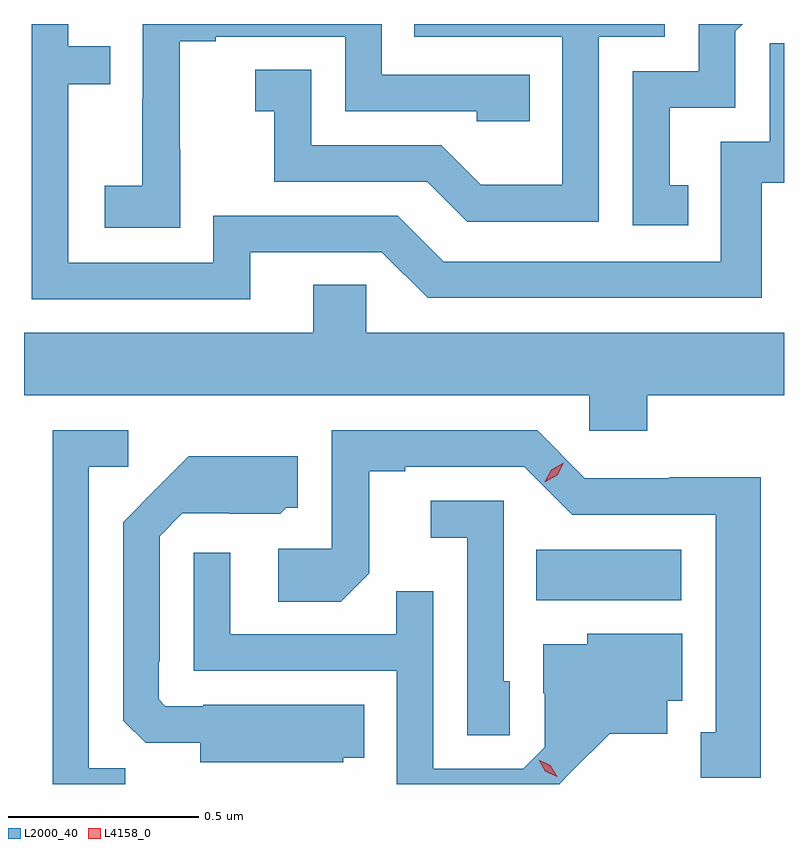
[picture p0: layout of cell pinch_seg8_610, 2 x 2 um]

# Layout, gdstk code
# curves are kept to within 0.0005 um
import gdstk
lib = gdstk.Library(unit=1e-6, precision=1e-09)
def R(c, l, rs):  # rectangles x0, y0, x1, y1
    for r in rs: c.add(gdstk.rectangle(r[:2], r[2:], *l))
def P(c, l, *ps):  # polygons
    for p in ps: c.add(gdstk.Polygon(p, *l))
L2000_40 = (2000, 40)
L4158_0 = (4158, 0)

pinch_seg8_610 = lib.new_cell('pinch_seg8_610')
R(pinch_seg8_610, L2000_40, [(115.168,1082.66,115.549,1082.794)])
P(pinch_seg8_610, L2000_40, [(114.231,1083.847),(114.23,1083.847),(114.23,1084.131),(114.325,1084.131),(114.325,1084.143),(114.666,1084.143),(114.666,1083.948),(115.011,1083.948),(115.011,1083.921),(115.151,1083.921),(115.151,1084.044),(114.762,1084.044),(114.762,1084.177),(114.132,1084.177),(114.132,1083.98),(114.131,1083.98),(114.131,1083.751),(114.033,1083.751),(114.033,1083.641),(114.231,1083.641)],
  [(114.415,1083.576),(114.762,1083.576),(114.882,1083.456),(115.762,1083.456),(115.762,1083.759),(115.82,1083.759),(115.82,1084.126),(115.782,1084.126),(115.782,1083.867),(115.653,1083.867),(115.653,1083.552),(114.924,1083.552),(114.804,1083.672),(114.318,1083.672),(114.318,1083.549),(113.937,1083.549),(113.937,1084.018),(114.047,1084.018),(114.047,1084.119),(113.937,1084.119),(113.937,1084.177),(113.841,1084.177),(113.841,1083.453),(114.415,1083.453)],
  [(115.568,1083.753),(115.519,1083.753),(115.519,1083.957),(115.692,1083.957),(115.692,1084.158),(115.711,1084.177),(115.596,1084.177),(115.596,1084.053),(115.422,1084.053),(115.422,1083.648),(115.568,1083.648)],
  [(115.332,1084.143),(115.506,1084.143),(115.506,1084.177),(114.847,1084.177),(114.847,1084.143),(115.236,1084.143),(115.236,1083.754),(115.022,1083.754),(114.918,1083.858),(114.576,1083.858),(114.576,1084.057),(114.429,1084.057),(114.429,1083.947),(114.478,1083.947),(114.478,1083.762),(114.881,1083.762),(114.986,1083.657),(115.332,1083.657)],
  [(115.46,1083.2),(115.82,1083.2),(115.82,1083.364),(114.72,1083.364),(114.72,1083.491),(114.581,1083.491),(114.581,1083.364),(113.82,1083.364),(113.82,1083.2),(115.308,1083.2),(115.308,1083.107),(115.46,1083.107)],
  [(114.087,1082.219),(113.991,1082.219),(113.991,1083.012),(114.094,1083.012),(114.094,1083.108),(113.895,1083.108),(113.895,1082.177),(114.087,1082.177)],
  [(115.759,1082.984),(115.518,1082.984),(115.518,1082.982),(115.296,1082.982),(115.17,1083.108),(114.63,1083.108),(114.63,1082.796),(114.489,1082.796),(114.489,1082.656),(114.653,1082.656),(114.729,1082.732),(114.729,1083),(114.823,1083),(114.823,1083.012),(115.137,1083.012),(115.263,1082.886),(115.64,1082.886),(115.64,1082.313),(115.601,1082.313),(115.601,1082.193),(115.759,1082.193)],
  [(114.66,1082.246),(114.716,1082.246),(114.716,1082.386),(114.292,1082.386),(114.292,1082.382),(114.192,1082.382),(114.174,1082.4),(114.174,1082.5),(114.177,1082.5),(114.177,1082.829),(114.237,1082.889),(114.36,1082.889),(114.36,1082.888),(114.494,1082.888),(114.51,1082.904),(114.541,1082.904),(114.541,1083.04),(114.253,1083.04),(114.081,1082.866),(114.081,1082.344),(114.14,1082.285),(114.284,1082.285),(114.284,1082.234),(114.66,1082.234)],
  [(115.098,1082.448),(115.083,1082.448),(115.083,1082.922),(114.891,1082.922),(114.891,1082.825),(114.987,1082.825),(114.987,1082.305),(115.098,1082.305)],
  [(115.258,1082.207),(115.361,1082.309),(115.513,1082.309),(115.513,1082.396),(115.552,1082.396),(115.552,1082.572),(115.302,1082.572),(115.302,1082.545),(115.187,1082.545),(115.187,1082.416),(115.191,1082.416),(115.191,1082.274),(115.134,1082.217),(114.897,1082.217),(114.897,1082.684),(114.799,1082.684),(114.799,1082.571),(114.363,1082.571),(114.363,1082.785),(114.267,1082.785),(114.267,1082.475),(114.801,1082.475),(114.801,1082.177),(115.228,1082.177)])
P(pinch_seg8_610, L4158_0, [(115.191,1082.971),(115.191,1082.972),(115.208,1083.004),(115.24,1083.023),(115.241,1083.023),(115.241,1083.023),(115.223,1082.99),(115.191,1082.971)],
  [(115.222,1082.196),(115.192,1082.211),(115.174,1082.241),(115.174,1082.241),(115.175,1082.241),(115.205,1082.226),(115.223,1082.196),(115.223,1082.196)])

lib.write_gds('pinch_seg8_610.gds')
